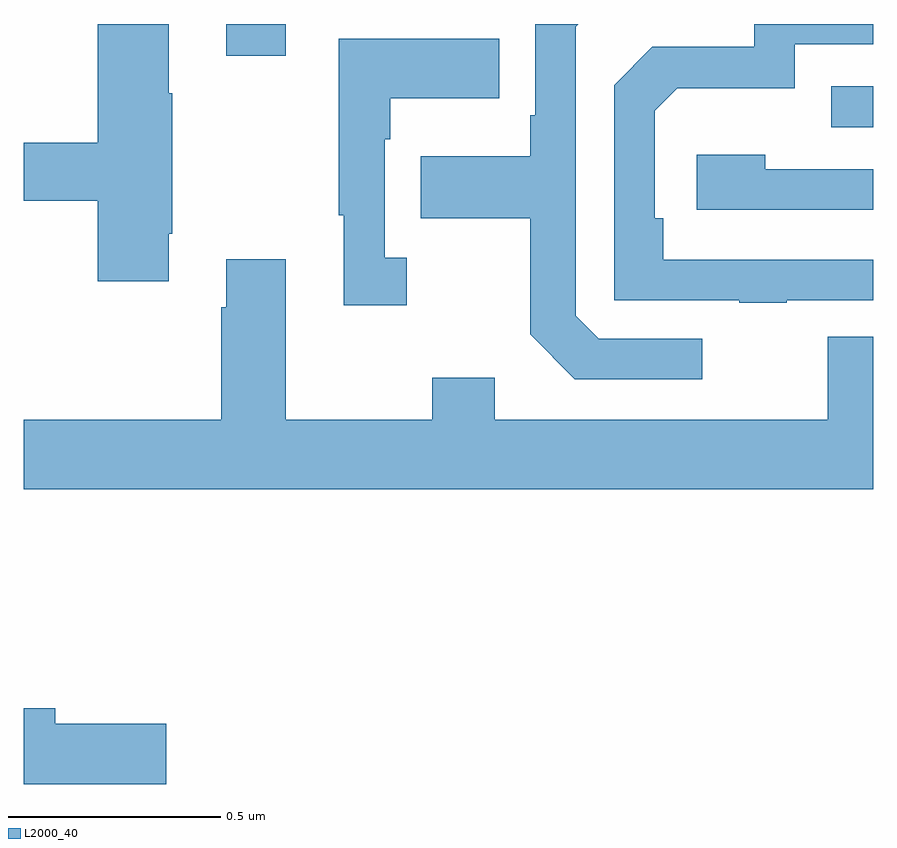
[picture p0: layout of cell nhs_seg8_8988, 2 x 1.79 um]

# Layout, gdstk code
import gdstk
lib = gdstk.Library(unit=1e-6, precision=1e-09)
def R(c, l, rs):  # rectangles x0, y0, x1, y1
    for r in rs: c.add(gdstk.rectangle(r[:2], r[2:], *l))
def P(c, l, *ps):  # polygons
    for p in ps: c.add(gdstk.Polygon(p, *l))
L2000_40 = (2000, 40)

nhs_seg8_8988 = lib.new_cell('nhs_seg8_8988')
R(nhs_seg8_8988, L2000_40, [(231.901,1146.657,232,1146.753), (230.477,1146.825,230.617,1146.9)])
P(nhs_seg8_8988, L2000_40, [(230.341,1146.406),(230.349,1146.406),(230.349,1146.737),(230.341,1146.737),(230.341,1146.9),(230.174,1146.9),(230.174,1146.62),(230,1146.62),(230,1146.484),(230.174,1146.484),(230.174,1146.294),(230.341,1146.294)],
  [(231.598,1146.159),(231.354,1146.159),(231.3,1146.213),(231.3,1146.894),(231.306,1146.9),(231.204,1146.9),(231.204,1146.685),(231.192,1146.685),(231.192,1146.589),(230.935,1146.589),(230.935,1146.442),(231.192,1146.442),(231.192,1146.169),(231.297,1146.063),(231.598,1146.063)],
  [(231.797,1146.249),(232,1146.249),(232,1146.345),(231.506,1146.345),(231.506,1146.442),(231.486,1146.442),(231.486,1146.696),(231.539,1146.749),(231.816,1146.749),(231.816,1146.852),(232,1146.852),(232,1146.9),(231.72,1146.9),(231.72,1146.846),(231.48,1146.846),(231.39,1146.756),(231.39,1146.249),(231.685,1146.249),(231.685,1146.244),(231.797,1146.244)],
  [(230.902,1146.35),(230.85,1146.35),(230.85,1146.629),(230.863,1146.629),(230.863,1146.725),(231.119,1146.725),(231.119,1146.865),(230.742,1146.865),(230.742,1146.449),(230.753,1146.449),(230.753,1146.237),(230.902,1146.237)],
  [(232,1146.558),(231.746,1146.558),(231.746,1146.592),(231.585,1146.592),(231.585,1146.462),(232,1146.462)],
  [(232,1146.163),(231.893,1146.163),(231.893,1145.968),(231.109,1145.968),(231.109,1146.067),(230.962,1146.067),(230.962,1145.968),(230.617,1145.968),(230.617,1146.346),(230.477,1146.346),(230.477,1146.233),(230.465,1146.233),(230.465,1145.968),(230,1145.968),(230,1145.804),(232,1145.804)],
  [(230.335,1145.252),(230.074,1145.252),(230.074,1145.288),(230,1145.288),(230,1145.11),(230.335,1145.11)])

lib.write_gds('nhs_seg8_8988.gds')
